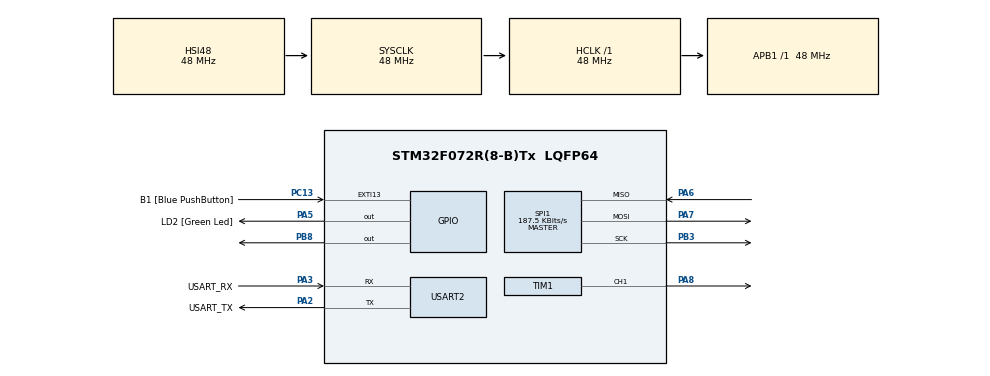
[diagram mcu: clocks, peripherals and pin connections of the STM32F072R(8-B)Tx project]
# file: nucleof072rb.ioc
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Mcu.Family=STM32F0
Mcu.Name=STM32F072R(8-B)Tx
Mcu.Package=LQFP64
PA13.GPIO_Label=TMS
PA13.Mode=Serial_Wire
PA13.Signal=SYS_SWDIO
PA14.GPIO_Label=TCK
PA14.Mode=Serial_Wire
PA14.Signal=SYS_SWCLK
PA2.GPIO_Label=USART_TX
PA2.GPIO_Mode=GPIO_MODE_AF_PP
PA2.GPIO_PuPd=GPIO_NOPULL
PA2.GPIO_Speed=GPIO_SPEED_FREQ_LOW
PA2.Mode=Asynchronous
PA2.Signal=USART2_TX
PA3.GPIO_Label=USART_RX
PA3.GPIO_Mode=GPIO_MODE_AF_PP
PA3.GPIO_PuPd=GPIO_NOPULL
PA3.GPIO_Speed=GPIO_SPEED_FREQ_LOW
PA3.Mode=Asynchronous
PA3.Signal=USART2_RX
PA5.GPIO_Label=LD2 [Green Led]
PA5.GPIO_Mode=GPIO_MODE_OUTPUT_PP
PA5.GPIO_PuPd=GPIO_NOPULL
PA5.GPIO_Speed=GPIO_SPEED_FREQ_LOW
PA5.Signal=GPIO_Output
PA6.Mode=Full_Duplex_Master
PA6.Signal=SPI1_MISO
PA7.Mode=Full_Duplex_Master
PA7.Signal=SPI1_MOSI
PA8.Signal=S_TIM1_CH1
PB3.Mode=Full_Duplex_Master
PB3.Signal=SPI1_SCK
PB8.Signal=GPIO_Output
PC13.GPIO_Label=B1 [Blue PushButton]
PC13.GPIO_ModeDefaultEXTI=GPIO_MODE_IT_FALLING
PC13.Signal=GPXTI13
PC14-OSC32_IN.Mode=LSE-External-Oscillator
PC14-OSC32_IN.Signal=RCC_OSC32_IN
PC15-OSC32_OUT.Mode=LSE-External-Oscillator
PC15-OSC32_OUT.Signal=RCC_OSC32_OUT
PF0-OSC_IN.Mode=HSE-External-Clock-Source
PF0-OSC_IN.Signal=RCC_OSC_IN
PF1-OSC_OUT.Signal=RCC_OSC_OUT
ProjectManager.HeapSize=0x200
ProjectManager.StackSize=0x400
ProjectManager.TargetToolchain=STM32CubeIDE
RCC.AHBFreq_Value=48000000
RCC.APB1Freq_Value=48000000
RCC.APB1TimFreq_Value=48000000
RCC.FLatency-AdvancedSettings=FLASH_LATENCY_1
RCC.HCLKFreq_Value=48000000
RCC.PLLDivider=RCC_PREDIV_DIV2
RCC.PLLMUL=RCC_PLL_MUL12
RCC.PREFETCH_ENABLE-AdvancedSettings=1
RCC.SYSCLKFreq_VALUE=48000000
RCC.SYSCLKSource=RCC_SYSCLKSOURCE_HSI48
SH.S_TIM1_CH1.0=TIM1_CH1,PWM Generation1 CH1
SPI1.BaudRatePrescaler=SPI_BAUDRATEPRESCALER_256
SPI1.CalculateBaudRate=187.5 KBits/s
SPI1.DataSize=SPI_DATASIZE_8BIT
SPI1.Direction=SPI_DIRECTION_2LINES
SPI1.Mode=SPI_MODE_MASTER
SPI1.VirtualType=VM_MASTER
TIM1.Channel-PWM\ Generation1\ CH1=TIM_CHANNEL_1
TIM1.Period=19999
TIM1.Prescaler=47
TIM1.Pulse-PWM\ Generation1\ CH1=1500
USART2.VirtualMode=VM_ASYNC
USART2.VirtualMode-Asynchronous=VM_ASYNC
VP_TIM1_VS_ClockSourceINT.Mode=Internal
board=NUCLEO-F072RB

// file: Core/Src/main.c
/* USER CODE BEGIN Header */
/**
  ******************************************************************************
  * @file           : main.c
  * @brief          : Main program body
  ******************************************************************************
  * @attention
  *
  * <h2><center>&copy; Copyright (c) 2021 STMicroelectronics.
  * All rights reserved.</center></h2>
  *
  * This software component is licensed by ST under BSD 3-Clause license,
  * the "License"; You may not use this file except in compliance with the
  * License. You may obtain a copy of the License at:
  *                        opensource.org/licenses/BSD-3-Clause
  *
  ******************************************************************************
  */
/* USER CODE END Header */
#include "main.h"
#include "spi.h"
#include "tim.h"
#include "usart.h"
#include "gpio.h"

/* USER CODE BEGIN Includes */

#include <stdint.h>

/* USER CODE END Includes */

/* USER CODE BEGIN PV */

const float SERVO_PER = 20.0f;
const float SERVO_MIN = 1.0f;
const float SERVO_MAX = 2.0f;
const uint16_t SPI_BUFFER_SIZE = 3;

/* USER CODE END PV */

void SystemClock_Config(void);

int main(void)
{

  /* MCU Configuration--------------------------------------------------------*/

  /* Reset of all peripherals, Initializes the Flash interface and the Systick. */
  HAL_Init();

  /* Configure the system clock */
  SystemClock_Config();

  /* Initialize all configured peripherals */
  MX_GPIO_Init();
  MX_USART2_UART_Init();
  MX_SPI1_Init();
  MX_TIM1_Init();
  /* USER CODE BEGIN 2 */

  uint8_t tx[3] = {0b00000001, 0b10000000, 0x00};
  uint8_t rx[3] = {0};
  uint16_t adc_value = 0;

  if (HAL_TIM_PWM_Start(&htim1, TIM_CHANNEL_1) != HAL_OK) {
      Error_Handler();
  }

  /* USER CODE END 2 */

  /* Infinite loop */
  /* USER CODE BEGIN WHILE */
  while (1)
  {
	  HAL_GPIO_WritePin(ADC_CS_GPIO_Port, ADC_CS_Pin, GPIO_PIN_RESET);

	  if (HAL_SPI_TransmitReceive(&hspi1, tx, rx, SPI_BUFFER_SIZE, HAL_MAX_DELAY) != HAL_OK) {
		  HAL_GPIO_WritePin(ADC_CS_GPIO_Port, ADC_CS_Pin, GPIO_PIN_SET);
		  continue;
	  }

	  HAL_GPIO_WritePin(ADC_CS_GPIO_Port, ADC_CS_Pin, GPIO_PIN_SET);

	  adc_value = ((uint16_t)(rx[1] & 0x03) << 8) | (uint16_t)rx[2];
	  adc_value &= 0x03FF;

	  float pulse_time = SERVO_MIN + ((float)adc_value / 1023.0f) * (SERVO_MAX - SERVO_MIN);
	  uint32_t arr = __HAL_TIM_GET_AUTORELOAD(&htim1);
	  uint32_t pulse_counts = (uint32_t)((pulse_time * (arr + 1)) / SERVO_PER + 0.5f);
	  if (pulse_counts > arr) {
	      pulse_counts = arr;
	  }
	  __HAL_TIM_SET_COMPARE(&htim1, TIM_CHANNEL_1, pulse_counts);
	  HAL_Delay(10);

    /* USER CODE END WHILE */

  }
}

void SystemClock_Config(void)
{
  RCC_OscInitTypeDef RCC_OscInitStruct = {0};
  RCC_ClkInitTypeDef RCC_ClkInitStruct = {0};
  RCC_PeriphCLKInitTypeDef PeriphClkInit = {0};

  /** Initializes the RCC Oscillators according to the specified parameters
  * in the RCC_OscInitTypeDef structure.
  */
  RCC_OscInitStruct.OscillatorType = RCC_OSCILLATORTYPE_HSI48;
  RCC_OscInitStruct.HSI48State = RCC_HSI48_ON;
  RCC_OscInitStruct.PLL.PLLState = RCC_PLL_NONE;
  if (HAL_RCC_OscConfig(&RCC_OscInitStruct) != HAL_OK)
  {
    Error_Handler();
  }

  /** Initializes the CPU, AHB and APB buses clocks
  */
  RCC_ClkInitStruct.ClockType = RCC_CLOCKTYPE_HCLK|RCC_CLOCKTYPE_SYSCLK
                              |RCC_CLOCKTYPE_PCLK1;
  RCC_ClkInitStruct.SYSCLKSource = RCC_SYSCLKSOURCE_HSI48;
  RCC_ClkInitStruct.AHBCLKDivider = RCC_SYSCLK_DIV1;
  RCC_ClkInitStruct.APB1CLKDivider = RCC_HCLK_DIV1;

  if (HAL_RCC_ClockConfig(&RCC_ClkInitStruct, FLASH_LATENCY_1) != HAL_OK)
  {
    Error_Handler();
  }
  PeriphClkInit.PeriphClockSelection = RCC_PERIPHCLK_USART2;
  PeriphClkInit.Usart2ClockSelection = RCC_USART2CLKSOURCE_PCLK1;
  if (HAL_RCCEx_PeriphCLKConfig(&PeriphClkInit) != HAL_OK)
  {
    Error_Handler();
  }
}

void Error_Handler(void)
{
  __disable_irq();
  while (1)
  {
  }
}
